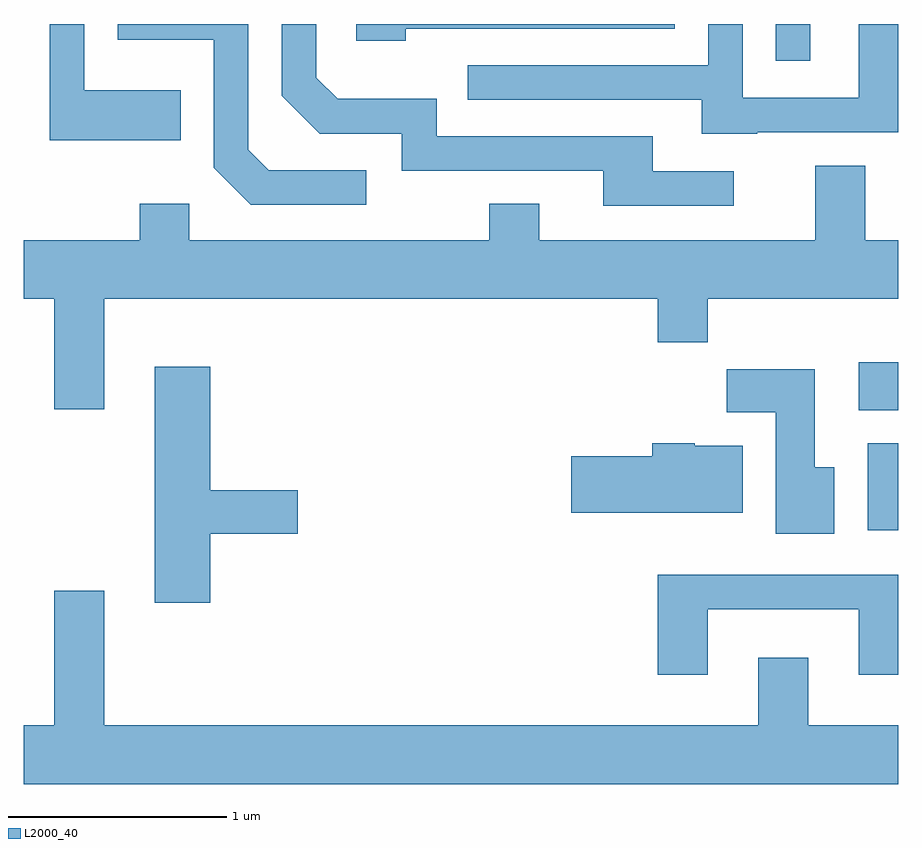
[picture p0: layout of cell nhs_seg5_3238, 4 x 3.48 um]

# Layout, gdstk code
import gdstk
lib = gdstk.Library(unit=1e-6, precision=1e-09)
def R(c, l, rs):  # rectangles x0, y0, x1, y1
    for r in rs: c.add(gdstk.rectangle(r[:2], r[2:], *l))
def P(c, l, *ps):  # polygons
    for p in ps: c.add(gdstk.Polygon(p, *l))
L2000_40 = (2000, 40)

nhs_seg5_3238 = lib.new_cell('nhs_seg5_3238')
R(nhs_seg5_3238, L2000_40, [(285.471,1435.756,285.611,1436.154), (285.431,1436.306,285.611,1436.524), (285.051,1437.903,285.209,1438.072)])
P(nhs_seg5_3238, L2000_40, [(284.858,1437.399),(284.489,1437.399),(284.489,1437.559),(283.499,1437.559),(283.499,1437.729),(283.047,1437.729),(282.949,1437.827),(282.949,1438.072),(282.791,1438.072),(282.791,1437.744),(282.964,1437.571),(283.341,1437.571),(283.341,1437.401),(284.261,1437.401),(284.261,1437.241),(284.858,1437.241)],
  [(284.965,1437.576),(285.611,1437.576),(285.611,1438.072),(285.431,1438.072),(285.431,1437.734),(284.899,1437.734),(284.899,1438.072),(284.741,1438.072),(284.741,1437.884),(283.643,1437.884),(283.643,1437.726),(284.711,1437.726),(284.711,1437.571),(284.965,1437.571)],
  [(283.178,1437.404),(282.732,1437.404),(282.639,1437.497),(282.639,1438.072),(282.041,1438.072),(282.041,1438.001),(282.481,1438.001),(282.481,1437.414),(282.649,1437.246),(283.178,1437.246)],
  [(283.359,1438.051),(284.589,1438.051),(284.589,1438.072),(283.131,1438.072),(283.131,1437.996),(283.359,1437.996)],
  [(282.329,1437.769),(281.889,1437.769),(281.889,1438.072),(281.731,1438.072),(281.731,1437.541),(282.329,1437.541)],
  [(281.979,1436.816),(284.511,1436.816),(284.511,1436.616),(284.739,1436.616),(284.739,1436.816),(285.611,1436.816),(285.611,1437.084),(285.459,1437.084),(285.459,1437.424),(285.231,1437.424),(285.231,1437.084),(283.969,1437.084),(283.969,1437.249),(283.741,1437.249),(283.741,1437.084),(282.369,1437.084),(282.369,1437.249),(282.141,1437.249),(282.141,1437.084),(281.611,1437.084),(281.611,1436.816),(281.751,1436.816),(281.751,1436.311),(281.979,1436.311)],
  [(282.464,1435.741),(282.864,1435.741),(282.864,1435.939),(282.464,1435.939),(282.464,1436.504),(282.211,1436.504),(282.211,1435.426),(282.464,1435.426)],
  [(285.319,1436.044),(285.229,1436.044),(285.229,1436.494),(284.826,1436.494),(284.826,1436.296),(285.051,1436.296),(285.051,1435.741),(285.319,1435.741)],
  [(284.899,1436.144),(284.68,1436.144),(284.68,1436.154),(284.486,1436.154),(284.486,1436.094),(284.116,1436.094),(284.116,1435.836),(284.899,1435.836)],
  [(284.739,1435.396),(285.431,1435.396),(285.431,1435.096),(285.611,1435.096),(285.611,1435.554),(284.511,1435.554),(284.511,1435.096),(284.739,1435.096)],
  [(285.611,1434.864),(285.199,1434.864),(285.199,1435.174),(284.971,1435.174),(284.971,1434.864),(281.979,1434.864),(281.979,1435.479),(281.751,1435.479),(281.751,1434.864),(281.611,1434.864),(281.611,1434.596),(285.611,1434.596)])

lib.write_gds('nhs_seg5_3238.gds')
